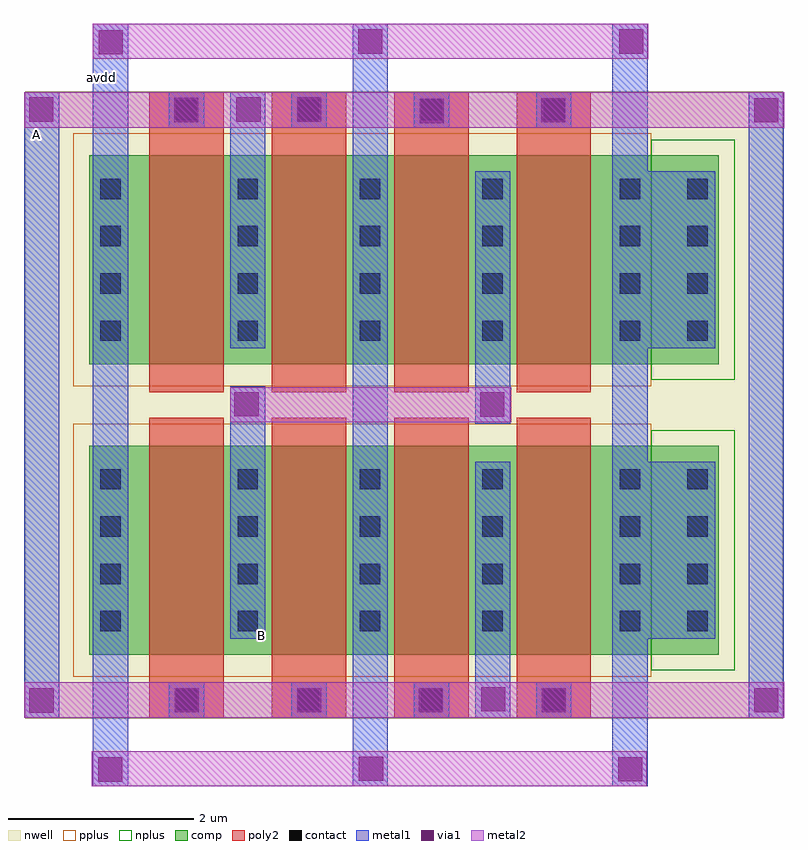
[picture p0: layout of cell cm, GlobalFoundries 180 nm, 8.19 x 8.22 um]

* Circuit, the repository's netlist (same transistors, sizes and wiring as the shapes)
** sch_path: /workspaces/DC23-LTC2/LDO/xschem/isource/cm.sch
.subckt cm avdd A B
*.PININFO avdd:B A:B B:B
M3 A A avdd avdd pfet_03v3 L=0.8u W=2.25u nf=1 m=4
M4 B A avdd avdd pfet_03v3 L=0.8u W=2.25u nf=1 m=4
.ends
.end

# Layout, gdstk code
import gdstk
lib = gdstk.Library(unit=1e-6, precision=1e-09)
def R(c, l, rs):  # rectangles x0, y0, x1, y1
    for r in rs: c.add(gdstk.rectangle(r[:2], r[2:], *l))
def A(c, l, x, y, w, h, nx, ny, dx, dy):  # array of equal rectangles
    R(c, l, [(x+i*dx, y+j*dy, x+i*dx+w, y+j*dy+h) for i in range(nx) for j in range(ny)])
nwell = (21, 0)
comp = (22, 0)
poly2 = (30, 0)
pplus = (31, 0)
nplus = (32, 0)
contact = (33, 0)
metal1 = (34, 0)
via1 = (35, 0)
metal2 = (36, 0)

pfet_3 = lib.new_cell('pfet$3')
R(pfet_3, nwell, [(-1.15,-0.69,7.02,2.94)])
R(pfet_3, comp, [(-0.46,0,0,2.25), (0,0,5.14,2.25), (5.14,0,5.6,2.25), (5.6,0,6.33,2.25)])
A(pfet_3, poly2, 0.19, -0.68, 0.8, 0.38, 4, 1, 1.32, 0)
A(pfet_3, poly2, 0.19, -0.3, 0.8, 2.85, 4, 1, 1.32, 0)
R(pfet_3, pplus, [(-0.63,-0.24,5.6,2.49)])
R(pfet_3, nplus, [(5.6,-0.17,6.5,2.42)])
A(pfet_3, contact, 0.48, -0.6, 0.22, 0.22, 4, 1, 1.32, 0)
A(pfet_3, contact, -0.34, 0.25, 0.22, 0.22, 1, 4, 0, 0.51)
A(pfet_3, contact, 1.14, 0.25, 0.22, 0.22, 3, 4, 1.32, 0.51)
A(pfet_3, contact, 5.26, 0.25, 0.22, 0.22, 1, 4, 0, 0.51)
A(pfet_3, contact, 5.99, 0.25, 0.22, 0.22, 1, 4, 0, 0.51)
A(pfet_3, metal1, 0.4, -0.681, 0.38, 0.382, 4, 1, 1.32, 0)
A(pfet_3, metal1, 1.06, 0.17, 0.38, 1.91, 3, 1, 1.32, 0)
R(pfet_3, metal1, [(-0.42,0.17,-0.04,2.08), (5.18,0.17,5.56,2.08), (5.91,0.17,6.29,2.08)])

pfet_1 = lib.new_cell('pfet$1')
R(pfet_1, nwell, [(-1.15,-0.69,7.02,2.94)])
R(pfet_1, comp, [(-0.46,0,0,2.25), (0,0,5.14,2.25), (5.14,0,5.6,2.25), (5.6,0,6.33,2.25)])
A(pfet_1, poly2, 0.19, -0.3, 0.8, 2.85, 4, 1, 1.32, 0)
A(pfet_1, poly2, 0.19, 2.55, 0.8, 0.38, 4, 1, 1.32, 0)
R(pfet_1, pplus, [(-0.63,-0.24,5.6,2.49)])
R(pfet_1, nplus, [(5.6,-0.17,6.5,2.42)])
A(pfet_1, contact, -0.34, 0.25, 0.22, 0.22, 1, 4, 0, 0.51)
A(pfet_1, contact, 1.14, 0.25, 0.22, 0.22, 3, 4, 1.32, 0.51)
A(pfet_1, contact, 5.26, 0.25, 0.22, 0.22, 1, 4, 0, 0.51)
A(pfet_1, contact, 5.99, 0.25, 0.22, 0.22, 1, 4, 0, 0.51)
A(pfet_1, contact, 0.48, 2.63, 0.22, 0.22, 4, 1, 1.32, 0)
A(pfet_1, metal1, 1.06, 0.17, 0.38, 1.91, 3, 1, 1.32, 0)
A(pfet_1, metal1, 0.4, 2.549, 0.38, 0.382, 4, 1, 1.32, 0)
R(pfet_1, metal1, [(-0.42,0.17,-0.04,2.08), (5.18,0.17,5.56,2.08), (5.91,0.17,6.29,2.08)])

c_cm = lib.new_cell('cm')
R(c_cm, metal1, [(8.569,2.796,8.919,4.706), (8.569,5.926,8.919,7.835)])
R(c_cm, via1, [(2.648,1.257,2.908,1.517), (8.251,1.259,8.511,1.519), (5.458,1.265,5.718,1.525), (1.906,2,2.166,2.26), (4.792,2.004,5.052,2.264), (7.427,2.004,7.687,2.264), (3.47,2.005,3.73,2.265), (6.102,2.005,6.362,2.265), (9.717,2.005,9.977,2.265), (6.774,2.014,7.034,2.274), (6.765,5.191,7.025,5.451), (4.116,5.193,4.376,5.453), (6.111,8.355,6.371,8.615), (7.421,8.362,7.681,8.622), (9.719,8.362,9.979,8.622), (3.468,8.366,3.728,8.626), (1.905,8.371,2.165,8.631), (4.137,8.371,4.397,8.631), (4.793,8.371,5.053,8.631), (2.654,9.096,2.914,9.356), (5.449,9.104,5.709,9.364), (8.265,9.104,8.525,9.364)])
c_cm.add(gdstk.FlexPath([(9.848,8.687),(9.848,1.946)], 0.38, ends="flush", simple_path=True, layer=34, datatype=0))  # metal1
c_cm.add(gdstk.FlexPath([(2.779,7.836),(2.779,9.427)], 0.38, ends="flush", simple_path=True, layer=34, datatype=0))  # metal1
c_cm.add(gdstk.FlexPath([(8.379,7.836),(8.379,9.427)], 0.38, ends="flush", simple_path=True, layer=34, datatype=0))  # metal1
c_cm.add(gdstk.FlexPath([(5.579,7.836),(5.579,9.427)], 0.38, ends="flush", simple_path=True, layer=34, datatype=0))  # metal1
c_cm.add(gdstk.FlexPath([(2.779,7.836),(2.779,9.427)], 0.38, ends="flush", simple_path=True, layer=34, datatype=0))  # metal1
c_cm.add(gdstk.FlexPath([(8.379,4.706),(8.379,5.926)], 0.38, ends="flush", simple_path=True, layer=34, datatype=0))  # metal1
c_cm.add(gdstk.FlexPath([(2.779,4.706),(2.779,5.926)], 0.38, ends="flush", simple_path=True, layer=34, datatype=0))  # metal1
c_cm.add(gdstk.FlexPath([(6.899,2.796),(6.899,1.946)], 0.38, ends="flush", simple_path=True, layer=34, datatype=0))  # metal1
c_cm.add(gdstk.FlexPath([(2.037,8.687),(2.037,1.942)], 0.38, ends="flush", simple_path=True, layer=34, datatype=0))  # metal1
c_cm.add(gdstk.FlexPath([(5.579,4.706),(5.579,5.926)], 0.38, ends="flush", simple_path=True, layer=34, datatype=0))  # metal1
c_cm.add(gdstk.FlexPath([(6.899,5.116),(6.899,5.926)], 0.38, ends="flush", simple_path=True, layer=34, datatype=0))  # metal1
c_cm.add(gdstk.FlexPath([(4.259,5.516),(4.259,4.706)], 0.38, ends="flush", simple_path=True, layer=34, datatype=0))  # metal1
c_cm.add(gdstk.FlexPath([(4.259,7.836),(4.259,8.687)], 0.38, ends="flush", simple_path=True, layer=34, datatype=0))  # metal1
c_cm.add(gdstk.FlexPath([(8.379,1.205),(8.379,2.796)], 0.38, ends="flush", simple_path=True, layer=34, datatype=0))  # metal1
c_cm.add(gdstk.FlexPath([(5.579,1.205),(5.579,2.796)], 0.38, ends="flush", simple_path=True, layer=34, datatype=0))  # metal1
c_cm.add(gdstk.FlexPath([(2.779,1.205),(2.779,2.796)], 0.38, ends="flush", simple_path=True, layer=34, datatype=0))  # metal1
c_cm.add(gdstk.FlexPath([(1.847,8.497),(10.04,8.497)], 0.38, ends="flush", simple_path=True, layer=36, datatype=0))  # metal2
c_cm.add(gdstk.FlexPath([(1.847,2.136),(10.04,2.136)], 0.38, ends="flush", simple_path=True, layer=36, datatype=0))  # metal2
c_cm.add(gdstk.FlexPath([(2.589,9.237),(8.576,9.237)], 0.38, ends="flush", simple_path=True, layer=36, datatype=0))  # metal2
c_cm.add(gdstk.FlexPath([(4.069,5.319),(7.098,5.319)], 0.38, ends="flush", simple_path=True, layer=36, datatype=0))  # metal2
c_cm.add(gdstk.FlexPath([(2.576,1.395),(8.563,1.395)], 0.38, ends="flush", simple_path=True, layer=36, datatype=0))  # metal2
c_cm.add(gdstk.Reference(pfet_3, (3.009,2.626)))
c_cm.add(gdstk.Reference(pfet_1, (3.009,5.756)))
c_cm.add(gdstk.Label('avdd', (2.684,8.846), layer=34, texttype=10))
c_cm.add(gdstk.Label('A', (1.985,8.236), layer=34, texttype=10))
c_cm.add(gdstk.Label('B', (4.41,2.836), layer=34, texttype=10))

lib.write_gds('cm.gds')
